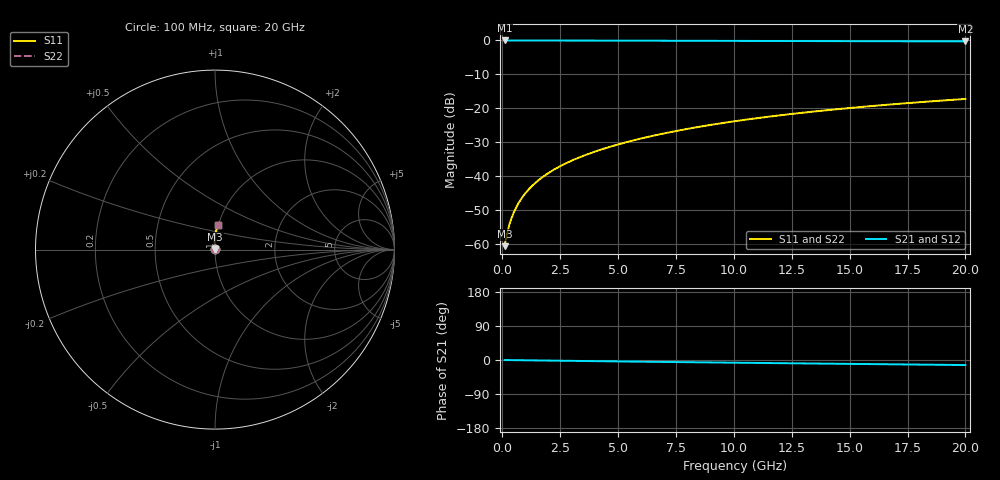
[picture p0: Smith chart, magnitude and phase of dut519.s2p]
! Touchstone file exported from HFSS 2024.1.0
!  File:  C:/UserFiles/LocalFiles/RDL_TSV_Batchsim/temp_RDL_top_519_1779679746.aedt
!  Generated:  11:31:26 AM May 25, 2026
!  Design:  RDL_top
!  Project:  temp_RDL_top_519_1779679746
!  Setup:  Setup1
!  Solution:  Sweep
! Variables:
!  dtsv = 10.80580581um
!  hbump = 3um
!  htsv = 76.18um
!  ldown = 100um
!  lrdl = 167.8um
!  p = 40
!  p1 = 51.73um
!  rhole = 1um
!  t = 450um
!  tdown = 3.915915916um
!  trdl = 4.5um
!  wdown = 15.38538539um
!  wrdl = 26.43um
# GHz S MA R 50.000000
! Terminal data exported
! Port[1] = Box2_T1
! Port[2] = Box2_T2
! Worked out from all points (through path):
!   200 points, 100 MHz to 20 GHz, reference 50 ohm
!   highest |S21| = -0.01 dB at 100 MHz (marker M1); lowest = -0.3 dB at 20 GHz (marker M2)
!   group delay of S21, straight-line fit = 1.82 ps
!   lowest |S11| = -60.7 dB at 100 MHz (marker M3), VSWR 1.00, Z = 50.1 + j0.0613 ohm
!   |S11| at or under -10 dB: start of sweep to end of sweep
!   |S22| runs from -60.7 to -17.3 dB; largest |S21 - S12| = 2e-15
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0.1  0.0009221 41.6  0.9993 -0.1  0.9993 -0.1  0.0009221 41.6
! Gamma 0 0 0 0
! Port Impedance 50 0 50 0
0.2  0.001393 58.2  0.9992 -0.2  0.9992 -0.2  0.001393 58.2
0.3  0.001891 66.2  0.9992 -0.2  0.9992 -0.2  0.001891 66.2
0.4  0.002399 71.0  0.9991 -0.3  0.9991 -0.3  0.002399 71.0
0.5  0.002915 74.4  0.9991 -0.4  0.9991 -0.4  0.002915 74.4
0.6  0.003438 76.9  0.999 -0.5  0.999 -0.5  0.003438 76.9
0.8  0.0045 80.3  0.9989 -0.6  0.9989 -0.6  0.0045 80.3
1.1  0.006119 83.4  0.9988 -0.9  0.9988 -0.9  0.006119 83.4
1.5  0.008314 85.9  0.9985 -1.2  0.9985 -1.2  0.008314 85.9
1.8  0.009982 87.2  0.9982 -1.4  0.9982 -1.4  0.009982 87.2
2.1  0.01167 88.2  0.9978 -1.6  0.9978 -1.6  0.01167 88.2
2.7  0.01511 89.6  0.9971 -2.1  0.9971 -2.1  0.01511 89.6
3.5  0.01984 91.0  0.9958 -2.7  0.9958 -2.7  0.01984 91.0
4.2  0.02413 91.7  0.9946 -3.2  0.9946 -3.2  0.02413 91.7
5  0.0292 92.3  0.9931 -3.8  0.9931 -3.8  0.0292 92.3
6.8  0.04122 92.6  0.9896 -5.0  0.9896 -5.0  0.04122 92.6
8.4  0.05245 92.1  0.9865 -6.1  0.9865 -6.1  0.05245 92.1
10.1  0.06473 91.1  0.9834 -7.2  0.9834 -7.2  0.06473 91.1
11.7  0.07645 90.0  0.9806 -8.2  0.9806 -8.2  0.07645 90.0
13.4  0.08896 88.6  0.9778 -9.3  0.9778 -9.3  0.08896 88.6
16.7  0.1132 85.9  0.9726 -11.3  0.9726 -11.3  0.1132 85.9
20  0.137 83.2  0.9675 -13.3  0.9675 -13.3  0.137 83.2
